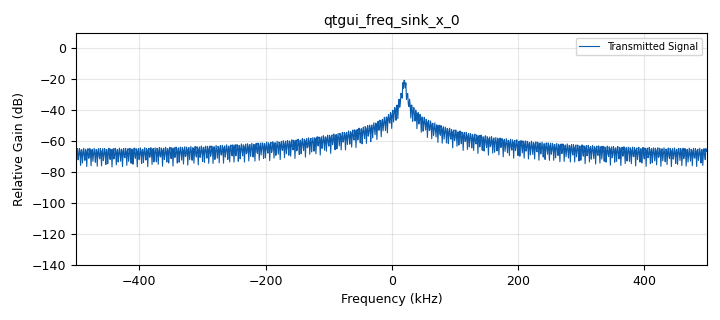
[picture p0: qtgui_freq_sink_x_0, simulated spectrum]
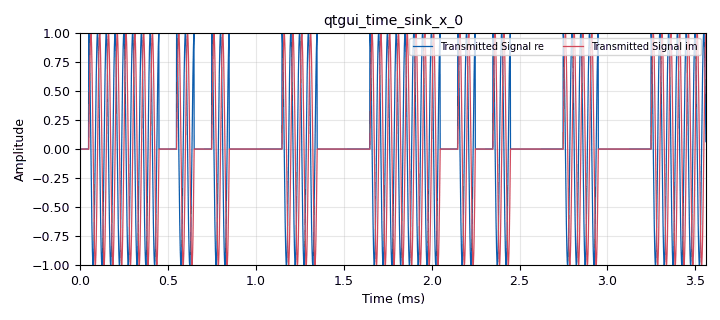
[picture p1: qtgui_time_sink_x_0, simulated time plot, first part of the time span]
options:
  parameters:
    author: jason
    generate_options: qt_gui
    generator_class_name: PythonQtGuiGenerator
    generator_module: gnuradio.grc.workflows.python_qt_gui
    id: lesson10_OOK_Pluto_to_RTL_SDR
    output_language: python
    title: lesson10_OOK_Pluto_to_RTL_SDR
  states: {}

blocks:
- name: center_freq
  id: variable
  parameters:
    value: 915e6
  states: {}
- name: rx_gain
  id: variable_qtgui_range
  parameters:
    start: '0'
    step: '1'
    stop: '70'
    value: '10'
  states: {}
- name: samp_rate
  id: variable
  parameters:
    value: '1000000'
  states: {}
- name: signal_freq
  id: variable_qtgui_range
  parameters:
    start: '-100e3'
    step: '1'
    stop: 100e3
    value: 20e3
  states: {}
- name: signal_freq
  id: variable
  parameters:
    value: 20e3
  states: {state: disabled}
- name: sps
  id: variable
  parameters:
    value: '100'
  states: {}
- name: tx_attenuation
  id: variable_qtgui_range
  parameters:
    start: '0'
    step: '1'
    stop: '100'
    value: '10'
  states: {}
- name: analog_const_source_x_0
  id: analog_const_source_x
  parameters:
    const: '0'
    type: float
  states: {state: disabled}
- name: analog_random_uniform_source_x_0
  id: analog_random_uniform_source_x
  parameters:
    maximum: '2'
    minimum: '0'
    seed: '0'
    type: int
  states: {state: disabled}
- name: analog_sig_source_x_0
  id: analog_sig_source_x
  parameters:
    amp: '1'
    freq: signal_freq
    offset: '0'
    phase: '0'
    samp_rate: samp_rate
    type: complex
    waveform: analog.GR_COS_WAVE
  states: {}
- name: blocks_complex_to_mag_0
  id: blocks_complex_to_mag
  parameters: {}
  states: {}
- name: blocks_float_to_complex_0
  id: blocks_float_to_complex
  parameters: {}
  states: {state: disabled}
- name: blocks_int_to_float_1
  id: blocks_int_to_float
  parameters:
    scale: '1'
  states: {state: disabled}
- name: blocks_keep_one_in_n_0
  id: blocks_keep_one_in_n
  parameters:
    comment: sps
    n: sps
    type: float
  states: {}
- name: blocks_multiply_xx_0
  id: blocks_multiply_xx
  parameters:
    type: complex
  states: {}
- name: blocks_repeat_0
  id: blocks_repeat
  parameters:
    interp: sps
    type: complex
  states: {}
- name: blocks_threshold_ff_0
  id: blocks_threshold_ff
  parameters:
    high: '.1'
    init: '0'
    low: '.1'
  states: {}
- name: blocks_vector_source_x_0
  id: blocks_vector_source_x
  parameters:
    comment: |-
      Even numbers of 0s and 1s
      But runs of 3 0s and a run of 4 1s.
    repeat: 'True'
    type: complex
    vector: '[0,1,0,1,0,0,0,1,1,0,0,0,1,1,1,1]'
  states: {}
- name: iio_pluto_sink_0
  id: iio_pluto_sink
  parameters:
    attenuation1: tx_attenuation
    bandwidth: samp_rate
    buffer_size: '32768'
    cyclic: 'False'
    filter_source: '''Auto'''
    frequency: int(center_freq)
    samplerate: samp_rate
    type: fc32
    uri: 192.168.2.1
  states: {}
- name: iio_pluto_source_0
  id: iio_pluto_source
  parameters:
    bandwidth: '20000000'
    bbdc: 'True'
    buffer_size: '32768'
    filter_source: '''Auto'''
    frequency: center_freq
    gain1: '''manual'''
    len_tag_key: ''
    manual_gain1: rx_gain
    quadrature: 'True'
    rfdc: 'True'
    samplerate: samp_rate
    type: fc32
    uri: 192.168.2.1
  states: {state: disabled}
- name: qtgui_freq_sink_x_0
  id: qtgui_freq_sink_x
  parameters:
    bw: samp_rate
    fc: '0'
    fftsize: '1024'
    label1: Transmitted Signal
    type: complex
  states: {}
- name: qtgui_time_sink_x_0
  id: qtgui_time_sink_x
  parameters:
    label1: Transmitted Signal re
    label2: Transmitted Signal im
    size: 1024*8
    srate: samp_rate
    type: complex
  states: {}
- name: qtgui_time_sink_x_0_0
  id: qtgui_time_sink_x
  parameters:
    label1: Received Signal re
    label2: Received Signal im
    size: 1024*8
    srate: samp_rate
    type: complex
  states: {}
- name: qtgui_time_sink_x_0_0_0
  id: qtgui_time_sink_x
  parameters:
    label1: Received and Thresholded
    marker1: '0'
    size: '1024'
    srate: samp_rate
    type: float
  states: {}
- name: qtgui_time_sink_x_0_1
  id: qtgui_time_sink_x
  parameters:
    label1: Repeated Input re
    size: 1024*8
    srate: samp_rate
    type: complex
  states: {state: disabled}
- name: rtlsdr_source_0
  id: rtlsdr_source
  parameters:
    bb_gain0: '20'
    freq0: center_freq
    gain0: rx_gain
    gain_mode0: 'False'
    if_gain0: '20'
    sample_rate: samp_rate
    sync: sync
    type: fc32
  states: {}

connections:
- [analog_const_source_x_0, '0', blocks_float_to_complex_0, '1']
- [analog_random_uniform_source_x_0, '0', blocks_int_to_float_1, '0']
- [analog_sig_source_x_0, '0', blocks_multiply_xx_0, '1']
- [blocks_complex_to_mag_0, '0', blocks_threshold_ff_0, '0']
- [blocks_float_to_complex_0, '0', blocks_repeat_0, '0']
- [blocks_int_to_float_1, '0', blocks_float_to_complex_0, '0']
- [blocks_keep_one_in_n_0, '0', qtgui_time_sink_x_0_0_0, '0']
- [blocks_multiply_xx_0, '0', iio_pluto_sink_0, '0']
- [blocks_multiply_xx_0, '0', qtgui_freq_sink_x_0, '0']
- [blocks_multiply_xx_0, '0', qtgui_time_sink_x_0, '0']
- [blocks_repeat_0, '0', blocks_multiply_xx_0, '0']
- [blocks_repeat_0, '0', qtgui_time_sink_x_0_1, '0']
- [blocks_threshold_ff_0, '0', blocks_keep_one_in_n_0, '0']
- [blocks_vector_source_x_0, '0', blocks_repeat_0, '0']
- [iio_pluto_source_0, '0', blocks_complex_to_mag_0, '0']
- [iio_pluto_source_0, '0', qtgui_time_sink_x_0_0, '0']
- [rtlsdr_source_0, '0', blocks_complex_to_mag_0, '0']
- [rtlsdr_source_0, '0', qtgui_time_sink_x_0_0, '0']

metadata:
  file_format: 1
  grc_version: 3.10.12.0
